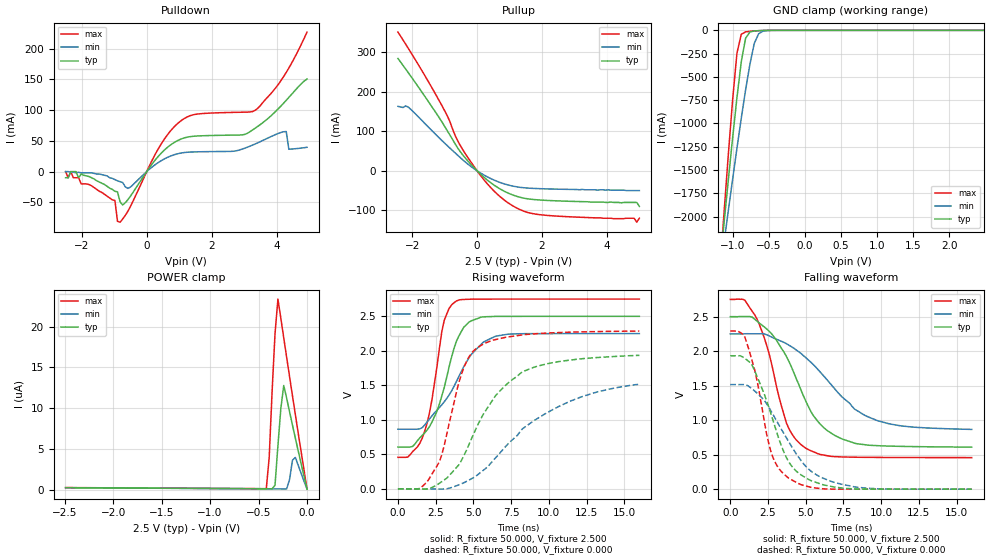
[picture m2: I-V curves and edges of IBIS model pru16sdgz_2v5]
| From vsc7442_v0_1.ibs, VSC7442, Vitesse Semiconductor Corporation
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|   Model pru16sdgz_2v5
[Model]  pru16sdgz_2v5
Model_type I/O
Polarity   Non-Inverting
Enable   Active-Low
Vinl =   0.7000V
Vinh =   1.7000V
Vmeas =  1.2500V
Cref =   50.0000pF
Rref =   1.0000M
Vref =   0.0V
C_comp   3.0738pF   2.9616pF   3.2340pF
[Temperature Range]   25.0000   0.1250k   -40.0000
[Voltage Range]   2.5000V   2.2500V   2.7500V
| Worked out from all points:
|   slope of the pulldown table from 0 to 0.375 V, typ, clamps not added: 14.5 ohm
|   slope of the pullup table from 0 to 0.375 V, typ, clamps not added: 13.7 ohm
|   GND clamp passes 1 mA (typ) near -0.54 V on its own axis
|   rising waveform, R_fixture 50.000, V_fixture 2.500: 20-80 % time 1.56ns typ, 2.38ns min, 1.04ns max; typ from 0.606 V to 2.5 V
|   rising waveform, R_fixture 50.000, V_fixture 0.000: 20-80 % time 3.24ns typ, 5ns min, 1.67ns max; typ from 0.002 V to 1.93 V
|   falling waveform, R_fixture 50.000, V_fixture 2.500: 20-80 % time 2.62ns typ, 3.72ns min, 1.72ns max; typ from 2.5 V to 0.61 V
|   falling waveform, R_fixture 50.000, V_fixture 0.000: 20-80 % time 1.96ns typ, 2.65ns min, 1.35ns max; typ from 1.93 V to 0 V
[Pulldown]
|Voltage   I(typ)   I(min)   I(max)
-2.5V     -10mA      0A         0A
-2.18V    0A         -2mA       -10mA
-980mV    -32mA      -13mA      -47mA
-900mV    -33mA      -15mA      -80.87mA
-820mV    -49.28mA   -16.4mA    -82.32mA
-580mV    -45.63mA   -27.36mA   -64.48mA
860mV     47.77mA    27.64mA    73.61mA
1.5V      57.74mA    32.09mA    93.14mA
3.34V     70.58mA    44.89mA    99.67mA
4.3V      116mA      65.12mA    161.4mA
4.38V     120.7mA    36.37mA    168.5mA
4.94V     150.6mA    39.56mA    227mA
[Pullup]
|Voltage   I(typ)   I(min)   I(max)
-2.44V    284mA      163.1mA    350.8mA
-2.12V    248mA      161mA      309.6mA
-1.08V    123.1mA    76.23mA    164.2mA
-680mV    68.58mA    45.41mA    89.9mA
-440mV    39.87mA    27.54mA    53.12mA
200mV     -15.49mA   -10.15mA   -21.71mA
840mV     -51.81mA   -33.18mA   -74.17mA
1.4V      -68.54mA   -42.59mA   -100.9mA
1.88V     -73.58mA   -45.07mA   -110.5mA
4.84V     -80mA      -50mA      -120mA
4.92V     -80mA      -50mA      -130mA
5V        -90mA      -50mA      -120mA
[GND_clamp]
|Voltage   I(typ)   I(min)   I(max)
-2.5V     -13.51A    -10.54A    -17.72A
-1.18V    -2.558A    -2.633A    -2.621A
-1.12V    -2.08A     -2.285A    -1.971A
-1.06V    -1.611A    -1.94A     -1.339A
-1V       -1.155A    -1.6A      -745mA
-940mV    -722.6mA   -1.266A    -245.2mA
-880mV    -337mA     -944mA     -42.15mA
-820mV    -84.12mA   -638.5mA   -16.41mA
-700mV    -6.768mA   -140.8mA   -7.172mA
-640mV    -3.549mA   -37.54mA   -3.993mA
-580mV    -1.69mA    -9.262mA   -1.709mA
2.48V     -887.5nA   133.4nA    -18.61uA
[POWER_clamp]
|Voltage   I(typ)   I(min)   I(max)
-2.49V    287.4nA    280.6nA    301.2nA
-420mV    152nA      144.8nA    165nA
-390mV    150.1nA    142.9nA    3.997uA
-330mV    589.3nA    139nA      19.13uA
-300mV    5.438uA    137.2nA    23.37uA
-270mV    9.965uA    135.4nA    21.03uA
-240mV    12.79uA    133.8nA    18.62uA
-210mV    11.24uA    133.4nA    16.24uA
-180mV    9.578uA    1.29uA     13.88uA
-150mV    7.944uA    3.641uA    11.54uA
-120mV    6.334uA    3.992uA    9.217uA
0V        114.7nA    105.3nA    126.9nA
[Ramp]
| variable   typ   min   max
dV/dt_r  1.1367/3.2042n   0.8308/5.1068n   1.3713/1.6484n
dV/dt_f  1.1341/2.5906n   0.8180/3.8458n   1.3754/1.6964n
R_load = 50.0000
[Rising Waveform]
R_fixture = 50.000
V_fixture = 2.500
V_fixture_min = 2.250
V_fixture_max = 2.750
C_fixture = 0.000
L_fixture = 0.000
|  time   V(typ)   V(min)   V(max)
0s        606mV      865mV      457.4mV
650ps     605.7mV    864.9mV    461.1mV
1.62ns    778.1mV    889mV      740mV
2.26ns    969.8mV    1.059V     1.299V
2.91ns    1.349V     1.219V     2.279V
3.07ns    1.468V     1.262V     2.442V
3.88ns    2.14V      1.557V     2.722V
4.69ns    2.412V     1.892V     2.746V
6.46ns    2.498V     2.21V      2.749V
16ns      2.499V     2.249V     2.749V
[Rising Waveform]
R_fixture = 50.000
V_fixture = 0.000
V_fixture_min = 0.000
V_fixture_max = 0.000
C_fixture = 0.000
L_fixture = 0.000
|  time   V(typ)   V(min)   V(max)
0s        2.026mV    1.702mV    575.4uV
1.45ns    21.02uV    414.4uV    10.58mV
2.59ns    58.28mV    -893.1uV   333.6mV
2.91ns    106.5mV    -2.591mV   497.9mV
4.36ns    478.3mV    89.39mV    1.756V
5.49ns    1.013V     241.5mV    2.076V
6.46ns    1.347V     447.9mV    2.162V
8.24ns    1.696V     868.8mV    2.231V
11.47ns   1.868V     1.276V     2.27V
16ns      1.934V     1.516V     2.286V
[Falling Waveform]
R_fixture = 50.000
V_fixture = 2.500
V_fixture_min = 2.250
V_fixture_max = 2.750
C_fixture = 0.000
L_fixture = 0.000
|  time   V(typ)   V(min)   V(max)
0s        2.5V       2.25V      2.75V
970ps     2.502V     2.252V     2.738V
1.78ns    2.433V     2.252V     2.461V
2.59ns    2.286V     2.22V      1.951V
3.72ns    1.925V     2.109V     960.4mV
5.01ns    1.275V     1.905V     593.4mV
6.46ns    844.8mV    1.573V     483.7mV
9.05ns    641.2mV    1.056V     461.7mV
11.31ns   620.8mV    917.6mV    459.1mV
16ns      609.9mV    866.4mV    457.7mV
[Falling Waveform]
R_fixture = 50.000
V_fixture = 0.000
V_fixture_min = 0.000
V_fixture_max = 0.000
C_fixture = 0.000
L_fixture = 0.000
|  time   V(typ)   V(min)   V(max)
0s        1.933V     1.516V     2.292V
970ps     1.895V     1.515V     2.203V
1.62ns    1.717V     1.423V     1.726V
2.42ns    1.276V     1.235V     788.4mV
2.75ns    1.055V     1.113V     505.1mV
3.23ns    724.6mV    928.7mV    297.3mV
3.88ns    394.7mV    685.4mV    158.2mV
5.33ns    126.1mV    264.5mV    28.25mV
7.43ns    17.23mV    68.94mV    849.4uV
16ns      484.3uV    481.5uV    545.9uV
